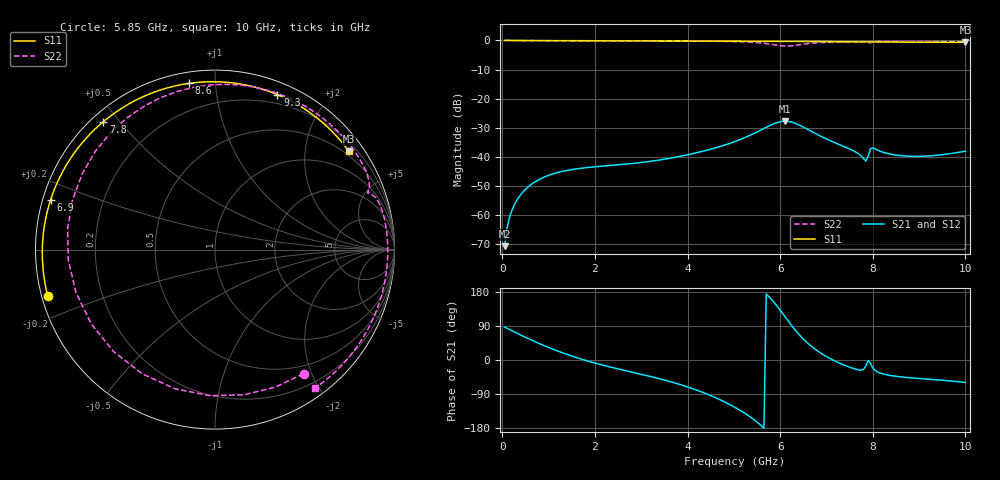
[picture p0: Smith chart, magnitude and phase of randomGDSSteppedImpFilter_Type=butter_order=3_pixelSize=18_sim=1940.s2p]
! freq	dB(S11)	phase(S11)	dB(S12)	phase(S12)
!  dB(S21)	phase(S21)	dB(S22)	phase(S22)
!S-par simulation data
#  GHz  S  DB  R 50
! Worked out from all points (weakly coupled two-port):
!   200 points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, 50 MHz to 10 GHz, reference 50 ohm
!   highest |S21| = -27.70 dB at 6.1 GHz (marker M1); lowest = -70.6 dB at 50 MHz (marker M2)
!   lowest |S11| = -0.7 dB at 10 GHz (marker M3), VSWR 25.72, Z = 19.7 + j150 ohm
!   |S11| at or under -10 dB: nowhere
!   |S22| runs from -1.9 to 0.0 dB; largest |S21 - S12| = 0
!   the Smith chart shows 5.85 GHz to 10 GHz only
!   S11 on the Smith chart (normalised r, x): 5.85 GHz: 0.02, -0.14; 6.9 GHz: 0.02, +0.15; 7.8 GHz: 0.03, +0.45; 8.6 GHz: 0.06, +0.85; 9.3 GHz: 0.11, +1.47; 10 GHz: 0.39, +3.00
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0.05  -0.00 -1.5  -70.60 86.9  -70.60 86.9  -0.00 -4.7
0.2  -0.01 -6.0  -58.64 77.6  -58.64 77.6  -0.03 -18.6
0.5  -0.02 -14.8  -51.09 59.9  -51.09 59.9  -0.06 -45.5
1.05  -0.04 -30.9  -46.00 30.6  -46.00 30.6  -0.10 -89.9
1.75  -0.06 -51.1  -43.77 0.7  -43.77 0.7  -0.13 -135.9
2.55  -0.09 -73.6  -42.63 -25.0  -42.63 -25.0  -0.15 -178.7
3.4  -0.13 -96.8  -41.01 -49.7  -41.01 -49.7  -0.17 140.5
4.35  -0.18 -122.5  -37.94 -86.4  -37.94 -86.4  -0.24 93.1
5.05  -0.22 -141.6  -34.53 -126.7  -34.53 -126.7  -0.40 48.8
5.55  -0.26 -155.7  -31.01 -168.7  -31.01 -168.7  -0.80 -1.6
5.85  -0.29 -164.3  -28.68 154.6  -28.68 154.6  -1.42 -54.5
6.1  -0.31 -171.7  -27.70 115.1  -27.70 115.1  -1.92 -120.2
6.35  -0.33 -179.3  -28.58 75.2  -28.58 75.2  -1.62 172.0
6.7  -0.36 169.6  -31.41 33.6  -31.41 33.6  -0.92 109.4
6.9  -0.38 163.1  -33.04 16.4  -33.04 16.4  -0.70 86.6
7.3  -0.42 149.4  -35.89 -9.3  -35.89 -9.3  -0.48 54.0
7.8  -0.48 131.1  -40.50 -24.7  -40.50 -24.7  -0.53 24.3
8  -0.50 123.4  -36.85 -20.7  -36.85 -20.7  -0.52 18.0
8.35  -0.54 109.3  -38.89 -40.2  -38.89 -40.2  -0.33 1.5
8.6  -0.56 98.9  -39.51 -44.5  -39.51 -44.5  -0.33 -8.6
9.3  -0.62 68.1  -39.52 -51.4  -39.52 -51.4  -0.36 -33.2
10  -0.68 36.3  -38.02 -59.3  -38.02 -59.3  -0.44 -54.2
